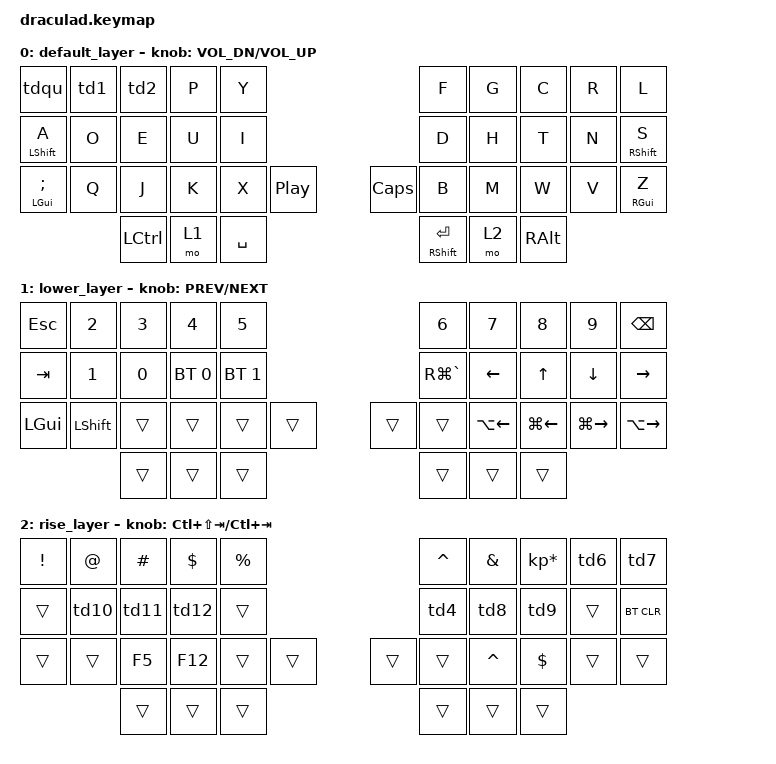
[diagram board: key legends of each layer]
/*
 * Copyright (c) 2020 The ZMK Contributors
 *
 * SPDX-License-Identifier: MIT
 */

#include <behaviors.dtsi>
#include <dt-bindings/zmk/keys.h>
#include <dt-bindings/zmk/bt.h>


/ {

   behaviors {
        gqt: global-quick-tap {
            compatible = "zmk,behavior-hold-tap";
            label = "GLOBAL_QUICK_TAP";
            #binding-cells = <2>;
            flavor = "tap-preferred";
            tapping-term-ms = <200>;
            quick-tap-ms = <125>;
            global-quick-tap;
            bindings = <&kp>, <&kp>;
        };
        tdqu: tap_dance_qu {
            compatible = "zmk,behavior-tap-dance";
            label = "TAP_DANCE_QU";
            #binding-cells = <0>;
            tapping-term-ms = <185>;
            bindings = <&kp SQT>, <&kp DQT>;
        };
        td1: tap_dance_1 {
            compatible = "zmk,behavior-tap-dance";
            label = "TAP_DANCE_1";
            #binding-cells = <0>;
            tapping-term-ms = <185>;
            bindings = <&kp COMMA>, <&kp LT>;
        };
        td2: tap_dance_2 {
            compatible = "zmk,behavior-tap-dance";
            label = "TAP_DANCE_2";
            #binding-cells = <0>;
            tapping-term-ms = <185>;
            bindings = <&kp DOT>, <&kp GT>;
        };
        td4: tap_dance_4 {
            compatible = "zmk,behavior-tap-dance";
            label = "TAP_DANCE_4";
            #binding-cells = <0>;
            tapping-term-ms = <185>;
            bindings = <&kp MINUS>, <&kp UNDER>;
        };
        td6: tap_dance_6 {
            compatible = "zmk,behavior-tap-dance";
            label = "TAP_DANCE_6";
            #binding-cells = <0>;
            tapping-term-ms = <185>;
            bindings = <&kp BSLH>, <&kp PIPE>;
        };
        td7: tap_dance_7 {
            compatible = "zmk,behavior-tap-dance";
            label = "TAP_DANCE_7";
            #binding-cells = <0>;
            tapping-term-ms = <185>;
            bindings = <&kp GRAVE>, <&kp TILDE>;
        };
        td8: tap_dance_8 {
            compatible = "zmk,behavior-tap-dance";
            label = "TAP_DANCE_8";
            #binding-cells = <0>;
            tapping-term-ms = <185>;
            bindings = <&kp EQUAL>, <&kp PLUS>;
        };
        td9: tap_dance_9 {
            compatible = "zmk,behavior-tap-dance";
            label = "TAP_DANCE_9";
            #binding-cells = <0>;
            tapping-term-ms = <185>;
            bindings = <&kp SLASH>, <&kp QMARK>;
        };
        td10: tap_dance_10 {
            compatible = "zmk,behavior-tap-dance";
            label = "TAP_DANCE_10";
            #binding-cells = <0>;
            tapping-term-ms = <185>;
            bindings = <&kp LPAR>, <&kp RPAR>;
        };
        td11: tap_dance_11 {
            compatible = "zmk,behavior-tap-dance";
            label = "TAP_DANCE_11";
            #binding-cells = <0>;
            tapping-term-ms = <185>;
            bindings = <&kp LEFT_BRACKET>, <&kp RIGHT_BRACKET>;
        };
        td12: tap_dance_12 {
            compatible = "zmk,behavior-tap-dance";
            label = "TAP_DANCE_12";
            #binding-cells = <0>;
            tapping-term-ms = <185>;
            bindings = <&kp LEFT_BRACE>, <&kp RIGHT_BRACE>;
        };
    };

    keymap {
        compatible = "zmk,keymap";

        default_layer {
           bindings = <
            &tdqu           &td1    &td2           &kp P      &kp Y                                   &kp F           &kp G    &kp C   &kp R   &kp L
            &gqt LSHIFT A    &kp O   &kp E         &kp U      &kp I                                   &kp D           &kp H    &kp T   &kp N   &gqt RSHIFT S
            &gqt LGUI SEMI   &kp Q   &kp J         &kp K      &kp X  &kp C_PP                &kp CLCK &kp B           &kp M    &kp W   &kp V   &gqt RGUI Z
                                    &kp LCTRL      &mo 1      &kp SPACE                               &gqt RSHIFT RET  &mo 2    &kp RALT
            >;

            sensor-bindings = <&inc_dec_kp C_VOL_DN C_VOL_UP>;
        };

        lower_layer {
           bindings = <
            &kp ESC   &kp N2       &kp N3       &kp N4       &kp N5                               &kp N6        &kp N7       &kp N8       &kp N9        &kp BSPC
            &kp TAB   &kp N1       &kp N0       &bt BT_SEL 0 &bt BT_SEL 1                         &kp RG(GRAVE) &kp LEFT     &kp UP       &kp DOWN      &kp RIGHT
            &kp LGUI  &kp LSHIFT   &trans       &trans       &trans    &trans            &trans   &trans        &kp LA(LEFT) &kp LG(LEFT) &kp LG(RIGHT) &kp LA(RIGHT)
                                   &trans       &trans       &trans                               &trans        &trans       &trans
            >;
            sensor-bindings = <&inc_dec_kp C_PREV C_NEXT>;
        };

        rise_layer {
           bindings = <
            &kp EXCL     &kp AT &kp HASH &kp DLLR  &kp PRCNT                     &kp CARET &kp AMPS   &kp KP_MULTIPLY &td6   &td7
            &trans       &td10  &td11    &td12     &trans                        &td4      &td8       &td9            &trans &bt BT_CLR
            &trans       &trans &kp F5   &kp F12   &trans &trans          &trans &trans    &kp CARET  &kp DLLR        &trans &trans
                                &trans   &trans    &trans                        &trans    &trans     &trans
            >;
            sensor-bindings = <&inc_dec_kp LC(LS(TAB)) LC(TAB)>;
        };

    };
};
